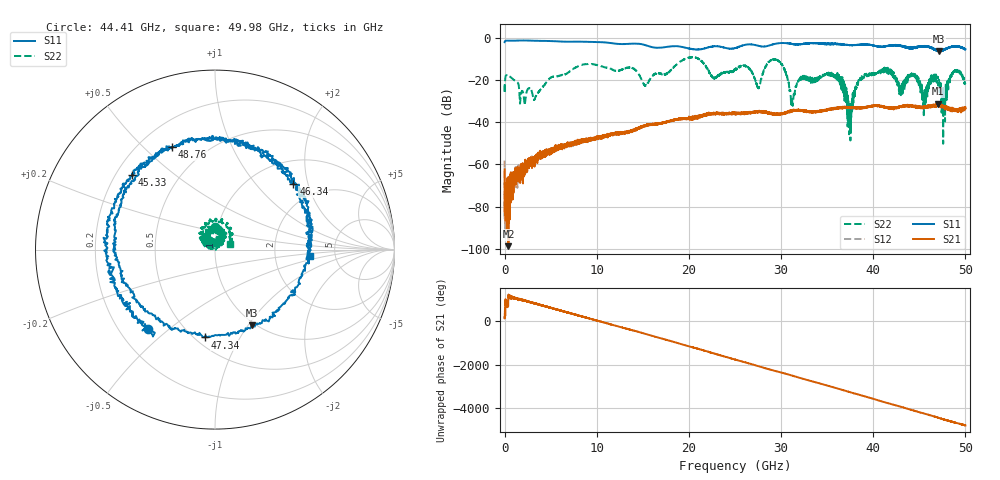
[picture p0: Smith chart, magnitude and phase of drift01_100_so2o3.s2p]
!Created with skrf (http://scikit-rf.org).
# Hz S RI R 50.0
!freq ReS11 ImS11 ReS21 ImS21 ReS12 ImS12 ReS22 ImS22
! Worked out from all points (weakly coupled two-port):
!   10001 points, 300 kHz to 50 GHz, reference 50 ohm
!   highest |S21| = -31.25 dB at 47.04 GHz (marker M1); lowest = -98.7 dB at 415.3 MHz (marker M2)
!   lowest |S11| = -6.6 dB at 47.12 GHz (marker M3), VSWR 2.77, Z = 48.2 - j52.2 ohm
!   |S11| at or under -10 dB: nowhere
!   |S22| runs from -50.3 to -9.2 dB; largest |S21 - S12| = 0.0044
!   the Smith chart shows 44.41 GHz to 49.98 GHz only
!   S11 on the Smith chart (normalised r, x): 44.41 GHz: 0.32, -0.43; 45.33 GHz: 0.26, +0.36; 46.34 GHz: 1.49, +1.63; 47.34 GHz: 0.56, -0.72; 48.76 GHz: 0.33, +0.61; 49.98 GHz: 3.21, -0.32
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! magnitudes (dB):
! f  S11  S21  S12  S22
! 300 kHz  -2.1  -62.3  -58.2  -22.3
! 415.3 MHz  -1.4  -98.7  -77.2  -18.1
! 3.285 GHz  -1.5  -58.9  -56.8  -28.9
! 8.335 GHz  -1.9  -48.7  -49.6  -12.9
! 16.67 GHz  -4.8  -40.5  -40.8  -16.7
! 25 GHz  -5.0  -35.9  -35.8  -15.5
! 29.6 GHz  -2.8  -36.1  -36.3  -10.7
! 31.25 GHz  -3.1  -34.9  -34.6  -31.8
! 33.34 GHz  -2.6  -34.9  -35.0  -19.9
! 36.08 GHz  -2.9  -33.0  -33.3  -18.3
! 37.47 GHz  -3.6  -33.2  -33.1  -31.5
! 38.67 GHz  -3.3  -33.0  -33.4  -19.9
! 41.67 GHz  -3.9  -33.3  -33.5  -15.4
! 44.41 GHz  -4.7  -32.5  -32.7  -17.9
! 45.33 GHz  -4.1  -32.9  -32.7  -27.0
! 46.34 GHz  -4.9  -32.2  -32.0  -20.1
! 47.04 GHz  -6.3  -31.2  -32.1  -22.0
! 47.12 GHz  -6.6  -31.6  -32.2  -20.2
! 47.34 GHz  -6.1  -32.5  -32.3  -22.6
! 48.76 GHz  -4.2  -34.2  -33.9  -16.5
! 49.98 GHz  -5.5  -33.4  -33.6  -21.2
! 50 GHz  -5.6  -33.1  -33.8  -21.9
